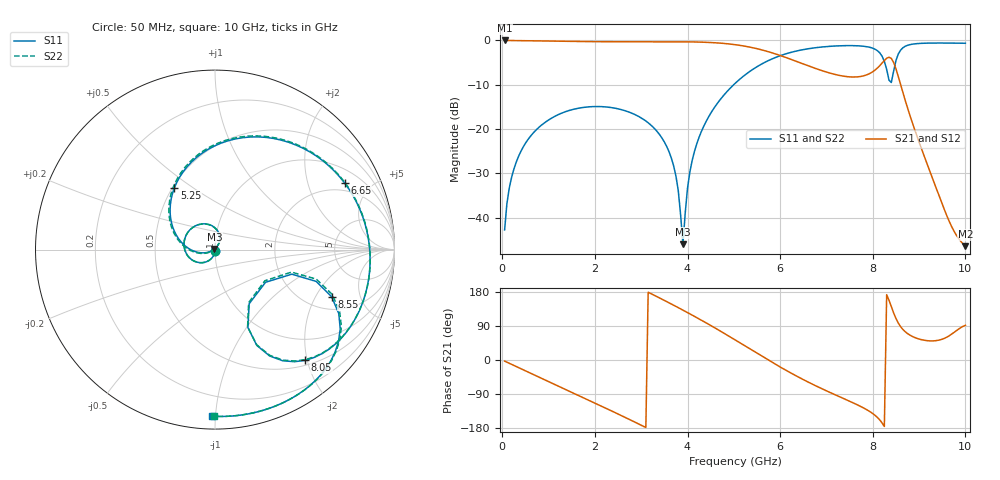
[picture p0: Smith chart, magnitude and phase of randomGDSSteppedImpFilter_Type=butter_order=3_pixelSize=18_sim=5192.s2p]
! freq	dB(S11)	phase(S11)	dB(S12)	phase(S12)
!  dB(S21)	phase(S21)	dB(S22)	phase(S22)
!S-par simulation data
#  GHz  S  DB  R 50
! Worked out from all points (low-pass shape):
!   200 points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, 50 MHz to 10 GHz, reference 50 ohm
!   highest |S21| = -0.01 dB at 50 MHz (marker M1); lowest = -46.4 dB at 10 GHz (marker M2)
!   |S21| within 3 dB of the highest: start of sweep to 5.887 GHz
!   lowest |S11| = -46.0 dB at 3.9 GHz (marker M3), VSWR 1.01, Z = 49.7 + j0.378 ohm
!   |S11| at or under -10 dB: start of sweep to 4.996 GHz
!   |S22| runs from -47.8 to -0.6 dB; largest |S21 - S12| = 0
!   S11 on the Smith chart (normalised r, x): 50 MHz: 1.00, -0.01; 5.25 GHz: 0.51, +0.42; 6.65 GHz: 1.59, +3.46; 8.05 GHz: 0.58, -1.96; 8.55 GHz: 2.66, -2.74; 10 GHz: 0.07, -0.98
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0.05  -42.76 -91.9  -0.01 -2.9  -0.01 -2.9  -42.76 -91.9
0.2  -30.92 -100.7  -0.02 -11.5  -0.02 -11.5  -30.93 -100.6
0.5  -23.21 -119.1  -0.06 -28.6  -0.06 -28.6  -23.20 -118.9
1.15  -17.04 -156.3  -0.17 -65.5  -0.17 -65.5  -17.03 -155.8
1.75  -15.12 169.3  -0.26 -99.5  -0.26 -99.5  -15.11 170.0
2.65  -15.86 117.5  -0.30 -151.3  -0.30 -151.3  -15.85 118.4
3.4  -21.30 73.4  -0.29 163.5  -0.29 163.5  -21.30 74.2
3.75  -30.62 56.6  -0.29 141.4  -0.29 141.4  -30.66 55.8
3.9  -46.00 130.6  -0.30 131.7  -0.30 131.7  -47.80 133.8
4  -33.29 -158.6  -0.32 125.1  -0.32 125.1  -33.36 -153.7
4.2  -23.31 -164.5  -0.36 111.8  -0.36 111.8  -23.31 -161.8
5.05  -9.47 138.1  -0.99 51.4  -0.99 51.4  -9.47 139.9
5.25  -7.72 123.4  -1.32 36.6  -1.32 36.6  -7.72 125.1
5.95  -3.64 72.6  -3.22 -14.9  -3.22 -14.9  -3.64 74.0
6.65  -1.81 27.2  -5.89 -61.0  -5.89 -61.0  -1.81 28.3
6.7  -1.73 24.2  -6.08 -64.0  -6.08 -64.0  -1.73 25.3
7.4  -1.18 -13.9  -8.12 -103.3  -8.12 -103.3  -1.18 -13.1
8.05  -1.99 -50.9  -6.68 -146.1  -6.68 -146.1  -1.99 -50.4
8.35  -8.96 -57.7  -3.79 157.7  -3.79 157.7  -9.12 -57.6
8.55  -3.09 -22.0  -8.10 97.6  -8.10 97.6  -3.11 -20.9
9.05  -0.66 -57.6  -24.39 53.7  -24.39 53.7  -0.66 -56.9
10  -0.64 -90.9  -46.42 91.6  -46.42 91.6  -0.64 -90.4
